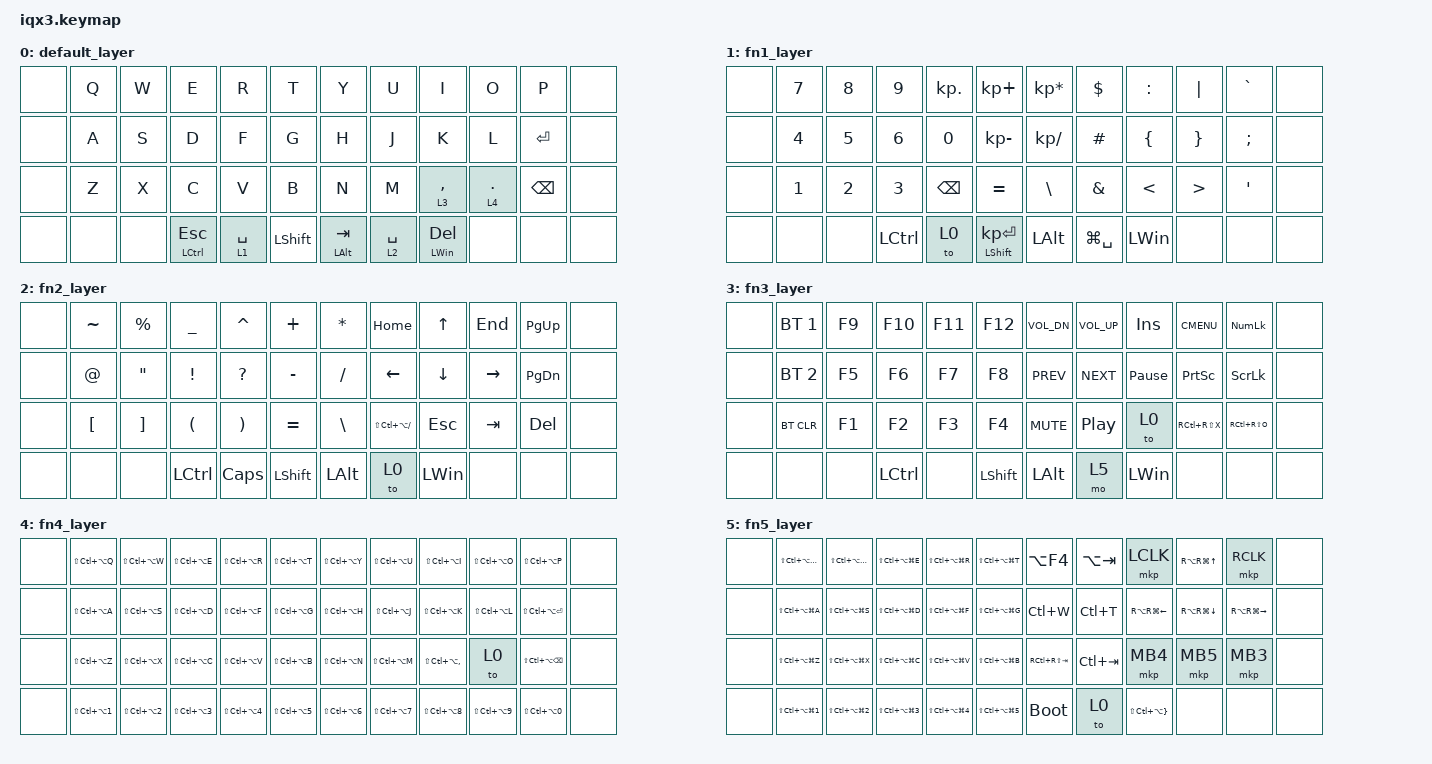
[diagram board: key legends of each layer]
/*
 * Copyright (c) 2020 The ZMK Contributors
 *
 * SPDX-License-Identifier: MIT
 */

#include <behaviors.dtsi>
#include <dt-bindings/zmk/keys.h>
#include <dt-bindings/zmk/rgb.h>
#include <dt-bindings/zmk/bt.h>
#include <dt-bindings/zmk/outputs.h>
#include <dt-bindings/zmk/ext_power.h>
#include <dt-bindings/zmk/mouse.h>

/ {
	keymap0: keymap {
		compatible = "zmk,keymap";

		default_layer {
            // | --- |   Q   |   W   |   E   |   R   |   T   |   Y   |   U   |   I   |   O   |   P   |  --- |
            // | --- |   A   |   S   |   D   |   F   |   G   |   H   |   J   |   K   |   L   |  Ent  |  --- |
            // | --- |   Z   |   X   |   C   |   V   |   B   |   N   |   M   | 3,Spc |  Del  |  BS   |  --- |
            // | --- |  ---  |  ---  | LCtrl | MO(1) | LSht  |  LAlt | MO(2) | LWin  |  ---  |  ---  |  --- | 
            bindings = <
            &none    &kp Q     &kp W     &kp E         &kp R       &kp T     &kp Y        &kp U       &kp I          &kp O       &kp P     &none
            &none    &kp A     &kp S     &kp D         &kp F       &kp G     &kp H        &kp J       &kp K          &kp L       &kp ENTER &none 
            &none    &kp Z     &kp X     &kp C         &kp V       &kp B     &kp N        &kp M       &lt 3 COMMA    &lt 4 DOT   &kp BSPC  &none
            &none    &none     &none     &mt LCTRL ESC &lt 1 SPACE &kp LSHFT &mt LALT TAB &lt 2 SPACE &mt LWIN DEL   &none       &none     &none
            >;
		};

		fn1_layer {
            // | --- |   7   |   8   |   9   |   .   |   +   |   *   |   $   |   :   |   |   |   `   |  --- |
            // | --- |   4   |   5   |   6   |   0   |   -   |   /   |   #   |   {   |   }   |   ;   |  --- |
            // | --- |   1   |   2   |   3   |  BS   | P-Ent |  CAPS | #Spc  |   ,   |   .   | !#BS  |  --- |
            // | --- |  ---  |  ---  | LCtrl | TO(0) | LSht  |  LAlt | #Spc  | LWin  |  ---  |  ---  |  --- | 
            bindings = <
            &none   &kp N7    &kp N8    &kp N9    &kp KP_DOT &kp KP_PLUS         &kp KP_MULTIPLY  &kp DLLR      &kp COLON  &kp PIPE   &kp GRAVE    &none 
            &none   &kp N4    &kp N5    &kp N6    &kp N0     &kp KP_MINUS        &kp KP_SLASH     &kp HASH      &kp LBRC   &kp RBRC   &kp SEMI     &none  
            &none   &kp N1    &kp N2    &kp N3    &kp BSPC   &kp EQUAL           &kp BSLH         &kp AMPS      &kp LT     &kp GT     &kp SQT      &none
            &none   &none     &none     &kp LCTRL &to 0      &mt LSHFT KP_ENTER  &kp LALT         &kp LG(SPACE) &kp LWIN   &none      &none        &none
             >;
		};

		fn2_layer {
            // | --- |   ~   |   %   |   _   |   ^   |   <   |   >   |  Home |   Up  |  End  | PgUp  |  --- |
            // | --- |   @   |   "   |   !   |   ?   |   (   |   )   |  Left |   Dn  | Right | PgDn  |  --- |
            // | --- |   [   |   ]   |   '   |   &   |   =   |   /   | ^!+/  |  Esc  |  Tab  | !#Del |  --- |
            // | --- |  ---  |  ---  | LCtrl | #Spc  | LSht  |  LAlt | TO(0) | LWin  |  ---  |  ---  |  --- | 
            bindings = <
            &none  &kp TILDE &kp PRCNT &kp UNDER &kp CARET  &kp PLUS   &kp STAR   &kp HOME              &kp UP    &kp END    &kp PG_UP   &none 
            &none  &kp AT    &kp DQT   &kp EXCL  &kp QMARK  &kp MINUS  &kp SLASH  &kp LEFT              &kp DOWN  &kp RIGHT  &kp PG_DN   &none 
            &none  &kp LBKT  &kp RBKT  &kp LPAR  &kp RPAR   &kp EQUAL  &kp BSLH   &kp LS(LC(LA(SLASH))) &kp ESC   &kp TAB    &kp DEL     &none 
            &none  &none     &none     &kp LCTRL &kp CAPS   &kp LSHFT  &kp LALT   &to 0                 &kp LWIN  &none      &none       &none
            >;
		};

		fn3_layer {
            // | --- |  BT1  |   F9  |  F10  |  F11  |  F12  |  ^!+- |  ^!+= | VolUp |S-lock | N-lock|  --- |
            // | --- |  BT2  |   F5  |   F6  |   F7  |   F8  |  Prev |  Next | VolDn | Menu  | Insert|  --- |
            // | --- | BT-clr|   F1  |   F2  |   F3  |   F4  |  Mute |  Play | TO(0) |   ^   |  BL   |  --- |
            // | --- |  ---  |  ---  | LCtrl |  !+[  | LSht  |  LAlt |  !+]  | LWin  |  ---  |  ---  |  --- | 
            bindings = <
            &none   &bt BT_SEL 1  &kp F9  &kp F10   &kp F11   &kp F12   &kp C_VOL_DN   &kp C_VOL_UP  &kp INS          &kp K_CMENU    &kp KP_NLCK    &none 
            &none   &bt BT_SEL 2  &kp F5  &kp F6    &kp F7    &kp F8    &kp C_PREV     &kp C_NEXT    &kp PAUSE_BREAK  &kp PSCRN      &kp SLCK       &none 
            &none   &bt BT_CLR    &kp F1  &kp F2    &kp F3    &kp F4    &kp C_MUTE     &kp C_PP      &to 0            &kp RC(RS(X))  &kp RC(RS(O))  &none 
            &none   &none         &none   &kp LCTRL &none     &kp LSHFT &kp LALT       &mo 5         &kp LWIN         &none          &none          &none
            >;
		};

		fn4_layer {
            bindings = <
		&none   &kp LS(LC(LA(Q)))  &kp LS(LC(LA(W)))  &kp LS(LC(LA(E)))  &kp LS(LC(LA(R)))  &kp LS(LC(LA(T)))   &kp LS(LC(LA(Y)))  &kp LS(LC(LA(U)))  &kp LS(LC(LA(I)))     &kp LS(LC(LA(O)))  &kp LS(LC(LA(P)))     &none    
		&none   &kp LS(LC(LA(A)))  &kp LS(LC(LA(S)))  &kp LS(LC(LA(D)))  &kp LS(LC(LA(F)))  &kp LS(LC(LA(G)))   &kp LS(LC(LA(H)))  &kp LS(LC(LA(J)))  &kp LS(LC(LA(K)))     &kp LS(LC(LA(L)))  &kp LS(LC(LA(ENTER))) &none     
		&none   &kp LS(LC(LA(Z)))  &kp LS(LC(LA(X)))  &kp LS(LC(LA(C)))  &kp LS(LC(LA(V)))  &kp LS(LC(LA(B)))   &kp LS(LC(LA(N)))  &kp LS(LC(LA(M)))  &kp LS(LC(LA(COMMA))) &to 0              &kp LS(LC(LA(BSPC)))  &none     
		&none   &kp LS(LC(LA(N1))) &kp LS(LC(LA(N2))) &kp LS(LC(LA(N3))) &kp LS(LC(LA(N4))) &kp LS(LC(LA(N5)))  &kp LS(LC(LA(N6))) &kp LS(LC(LA(N7))) &kp LS(LC(LA(N8)))    &kp LS(LC(LA(N9))) &kp LS(LC(LA(N0)))    &none   
            >;
		};

		fn5_layer {
            bindings = <
		&none   &kp LS(LC(LA(LG(Q)))) &kp LS(LC(LA(LG(W)))) &kp LS(LC(LA(LG(E)))) &kp LS(LC(LA(LG(R)))) &kp LS(LC(LA(LG(T))))   &kp LA(F4)      &kp LA(TAB)   &mkp LCLK             &kp RA(RG(UP))     &mkp RCLK          &none    
		&none   &kp LS(LC(LA(LG(A)))) &kp LS(LC(LA(LG(S)))) &kp LS(LC(LA(LG(D)))) &kp LS(LC(LA(LG(F)))) &kp LS(LC(LA(LG(G))))   &kp LC(W)       &kp LC(T)     &kp RA(RG(LEFT))      &kp RA(RG(DOWN))   &kp RA(RG(RIGHT))  &none    
		&none   &kp LS(LC(LA(LG(Z)))) &kp LS(LC(LA(LG(X)))) &kp LS(LC(LA(LG(C)))) &kp LS(LC(LA(LG(V)))) &kp LS(LC(LA(LG(B))))   &kp RC(RS(TAB)) &kp LC(TAB)   &mkp MB4              &mkp MB5           &mkp MB3           &none   
		&none   &kp LS(LC(LA(LG(1)))) &kp LS(LC(LA(LG(2)))) &kp LS(LC(LA(LG(3)))) &kp LS(LC(LA(LG(4)))) &kp LS(LC(LA(LG(5))))   &bootloader     &to 0         &kp LS(LC(LA(RBRC)))  &none              &none              &none   
            >;
		};
	};
};
